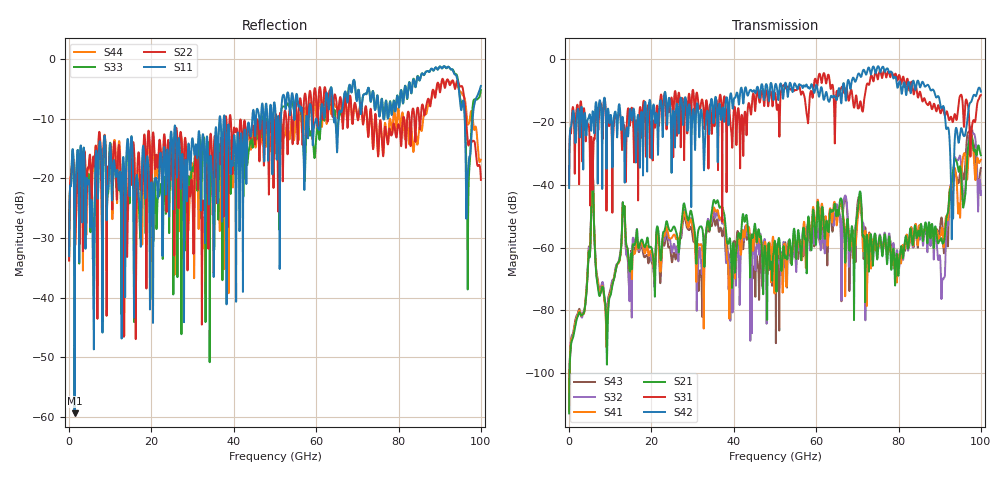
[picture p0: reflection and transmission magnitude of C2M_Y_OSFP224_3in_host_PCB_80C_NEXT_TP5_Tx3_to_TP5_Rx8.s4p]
# GHz S RI R 45
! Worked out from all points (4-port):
!   4000 points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, 25 MHz to 100 GHz, reference 45 ohm
!   strongest paths, dB at 25 MHz, 25.02 GHz, 50.02 GHz, 75.03 GHz, 100 GHz:
!     S42: -41.1, -22.7, -8.5, -2.3, -10.4
!     S31: -40.1, -13.3, -10.9, -6.3, -11.5
!     S21: -112.7, -54.3, -58.2, -60.5, -30.7
!     S41: -112.1, -56.8, -63.8, -59.8, -32.1
!     S32: -111.8, -61.5, -63.3, -60.3, -43.3
!     S43: -111.4, -64.6, -62.5, -59.7, -34.7
!   lowest |S11| = -59.4 dB at 1.35 GHz (marker M1), VSWR 1.00, Z = 44.9 - j0.0541 ohm
!   |S11| at or under -10 dB: start of sweep to 36.53 GHz; 37.83 GHz to 44.49 GHz (6.656 GHz wide, 16.2 % of centre); 96.08 GHz to 98 GHz (1.925 GHz wide, 1.98 % of centre)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
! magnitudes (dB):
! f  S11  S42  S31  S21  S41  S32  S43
! 25 MHz  -33.0  -41.1  -40.1  -112.7  -112.1  -111.8  -111.4
! 1.35 GHz  -59.4  -21.2  -29.9  -86.0  -85.2  -85.6  -84.3
! 5.7 GHz  -28.9  -16.8  -39.2  -38.1  -38.1  -38.1  -38.1
! 9.125 GHz  -27.0  -30.5  -34.4  -90.9  -91.7  -86.9  -88.1
! 76.22 GHz  -9.0  -2.5  -4.8  -61.5  -60.9  -60.8  -60.2
! 93.03 GHz  -1.7  -48.9  -19.6  -38.2  -40.6  -40.3  -47.5
! 100 GHz  -4.5  -10.4  -11.5  -30.7  -32.1  -43.3  -34.7
